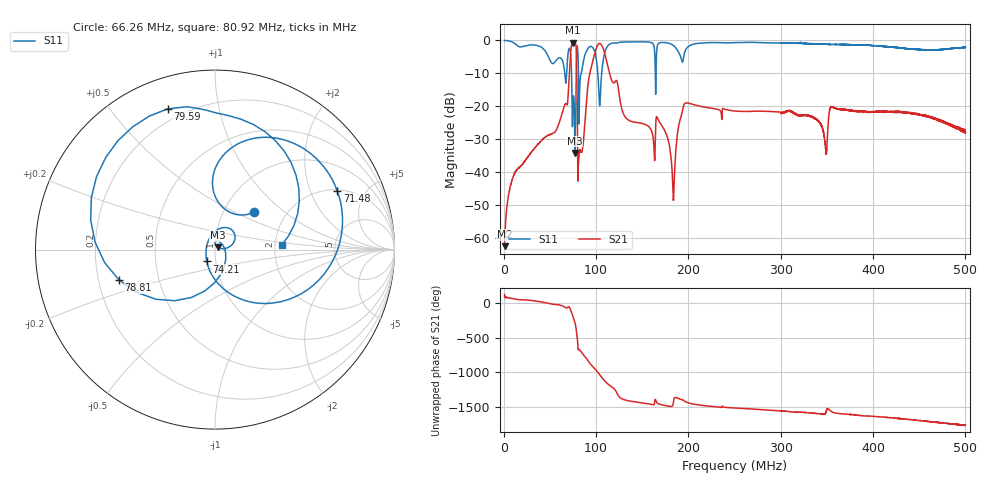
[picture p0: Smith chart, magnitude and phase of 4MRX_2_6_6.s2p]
! NanoVNA-App
! Date: 2026-08-19 14:47:18
! Start: 1MHz Stop: 500MHz Points: 6401
! S-Parameter data: F S11 S21 S12 S22
# Hz S RI R 50
!  Frequency  S11_Real  S11_Imag  S21_Real  S21_Imag  S12_Real  S12_Imag  S22_Real  S22_Imag
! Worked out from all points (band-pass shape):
!   6401 points, 1 MHz to 500 MHz, reference 50 ohm
!   highest |S21| = -0.68 dB at 74.76 MHz (marker M1); lowest = -62.5 dB at 1 MHz (marker M2)
!   |S21| within 3 dB of the highest: 72.61 MHz to 78.7 MHz (6.086 MHz wide, 8.04 % of centre); 98.93 MHz to 109.2 MHz (10.23 MHz wide, 9.83 % of centre)
!   lowest |S11| = -34.2 dB at 77.1 MHz (marker M3), VSWR 1.04, Z = 51.4 + j1.36 ohm
!   |S11| at or under -10 dB: 73.47 MHz to 78.52 MHz (5.05 MHz wide, 6.64 % of centre); 81.02 MHz to 83.89 MHz (2.871 MHz wide, 3.48 % of centre); 102 MHz to 106.1 MHz (4.157 MHz wide, 4 % of centre)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
!   S12 and S22 are empty: the file has one direction only
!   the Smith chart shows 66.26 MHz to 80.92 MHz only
!   S11 on the Smith chart (normalised r, x): 66.26 MHz: 1.38, +0.63; 71.48 MHz: 2.05, +3.13; 74.21 MHz: 0.90, -0.12; 78.81 MHz: 0.29, -0.14; 79.59 MHz: 0.14, +0.71; 80.92 MHz: 2.18, +0.13
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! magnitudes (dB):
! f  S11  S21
! 1 MHz  0.0  -62.5
! 11.6 MHz  -0.9  -40.5
! 66.26 MHz  -10.5  -19.4
! 71.48 MHz  -2.4  -8.3
! 74.21 MHz  -21.9  -0.8
! 74.76 MHz  -22.0  -0.7
! 77.1 MHz  -34.2  -0.8
! 78.81 MHz  -5.0  -4.8
! 79.59 MHz  -1.6  -17.5
! 80.92 MHz  -8.6  -37.6
! 84.19 MHz  -9.7  -34.0
! 95.26 MHz  -1.9  -7.6
! 103.5 MHz  -17.9  -0.9
! 132.3 MHz  -0.5  -23.5
! 167.4 MHz  -1.0  -24.1
! 183.5 MHz  -1.5  -47.1
! 196.7 MHz  -3.1  -19.0
! 250.5 MHz  -0.7  -21.4
! 333.7 MHz  -1.0  -23.0
! 348.4 MHz  -1.2  -32.3
! 416.9 MHz  -1.9  -21.6
! 500 MHz  -2.1  -28.2
